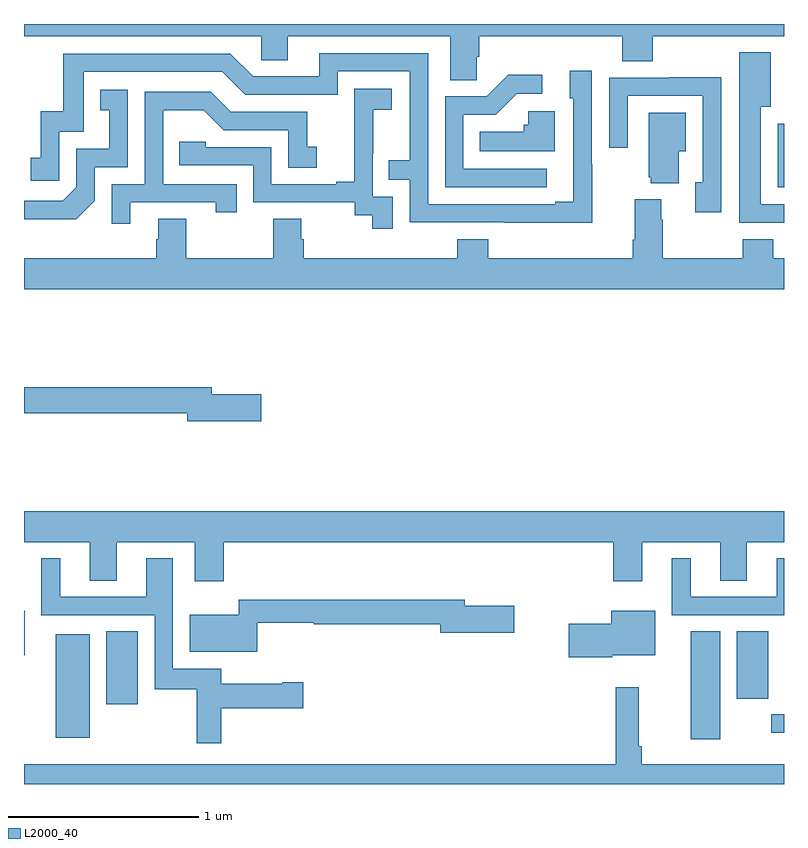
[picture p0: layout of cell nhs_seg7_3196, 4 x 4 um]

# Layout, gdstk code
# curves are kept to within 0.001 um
import gdstk
lib = gdstk.Library(unit=1e-6, precision=1e-09)
def R(c, l, rs):  # rectangles x0, y0, x1, y1
    for r in rs: c.add(gdstk.rectangle(r[:2], r[2:], *l))
def P(c, l, *ps):  # polygons
    for p in ps: c.add(gdstk.Polygon(p, *l))
L2000_40 = (2000, 40)

nhs_seg7_3196 = lib.new_cell('nhs_seg7_3196')
R(nhs_seg7_3196, L2000_40, [(318.509,1010.235,318.664,1010.804), (315.167,1010.243,315.346,1010.788), (318.933,1010.27,319,1010.367), (315.434,1010.42,315.598,1010.804), (318.752,1010.448,318.916,1010.804), (315,1010.678,315.004,1010.911), (318.968,1013.141,319,1013.476)])
P(nhs_seg7_3196, L2000_40, [(317.382,1013.827),(317.396,1013.827),(317.396,1013.936),(318.149,1013.936),(318.149,1013.803),(318.309,1013.803),(318.309,1013.936),(319,1013.936),(319,1014),(315,1014),(315,1013.936),(316.248,1013.936),(316.248,1013.809),(316.387,1013.809),(316.387,1013.936),(317.243,1013.936),(317.243,1013.704),(317.382,1013.704)],
  [(319,1013.052),(318.877,1013.052),(318.877,1013.564),(318.931,1013.564),(318.931,1013.851),(318.764,1013.851),(318.764,1012.955),(319,1012.955)],
  [(317.991,1013.261),(317.988,1013.261),(317.988,1013.755),(317.873,1013.755),(317.873,1013.61),(317.892,1013.61),(317.892,1013.065),(317.795,1013.065),(317.795,1013.052),(317.127,1013.052),(317.127,1013.847),(316.553,1013.847),(316.553,1013.724),(316.206,1013.724),(316.086,1013.844),(315.207,1013.844),(315.207,1013.542),(315.089,1013.542),(315.089,1013.295),(315.036,1013.295),(315.036,1013.175),(315.186,1013.175),(315.186,1013.433),(315.315,1013.433),(315.315,1013.748),(316.044,1013.748),(316.164,1013.628),(316.65,1013.628),(316.65,1013.751),(317.031,1013.751),(317.031,1013.282),(316.921,1013.282),(316.921,1013.181),(317.031,1013.181),(317.031,1012.956),(317.991,1012.955)],
  [(317.752,1013.238),(317.313,1013.238),(317.313,1013.523),(317.482,1013.523),(317.593,1013.634),(317.728,1013.634),(317.728,1013.732),(317.549,1013.732),(317.436,1013.619),(317.217,1013.619),(317.217,1013.142),(317.752,1013.142)],
  [(318.669,1013.72),(318.397,1013.72),(318.397,1013.718),(318.081,1013.718),(318.081,1013.349),(318.177,1013.349),(318.177,1013.622),(318.573,1013.622),(318.573,1013.166),(318.533,1013.166),(318.533,1013.01),(318.669,1013.01)],
  [(316.941,1013.091),(316.836,1013.091),(316.836,1013.321),(316.838,1013.321),(316.838,1013.549),(316.936,1013.549),(316.936,1013.659),(316.738,1013.659),(316.738,1013.453),(316.739,1013.453),(316.739,1013.17),(316.643,1013.17),(316.643,1013.157),(316.302,1013.157),(316.302,1013.352),(315.957,1013.352),(315.957,1013.379),(315.817,1013.379),(315.817,1013.256),(316.206,1013.256),(316.206,1013.061),(316.74,1013.061),(316.74,1012.993),(316.833,1012.993),(316.833,1012.923),(316.941,1012.923)],
  [(315.372,1013.07),(315.372,1013.247),(315.546,1013.247),(315.546,1013.653),(315.4,1013.653),(315.4,1013.547),(315.449,1013.547),(315.449,1013.343),(315.276,1013.343),(315.276,1013.142),(315.204,1013.07),(315,1013.07),(315,1012.973),(315.274,1012.973)],
  [(315.559,1013.061),(316.01,1013.061),(316.01,1013.01),(316.121,1013.01),(316.121,1013.157),(315.732,1013.157),(315.732,1013.546),(315.946,1013.546),(316.05,1013.442),(316.392,1013.442),(316.392,1013.244),(316.54,1013.244),(316.54,1013.353),(316.491,1013.353),(316.491,1013.538),(316.087,1013.538),(315.982,1013.643),(315.636,1013.643),(315.636,1013.157),(315.462,1013.157),(315.462,1012.95),(315.559,1012.95)],
  [(317.794,1013.542),(317.655,1013.542),(317.655,1013.469),(317.629,1013.469),(317.629,1013.434),(317.398,1013.434),(317.398,1013.33),(317.794,1013.33)],
  [(318.445,1013.33),(318.484,1013.33),(318.484,1013.533),(318.287,1013.533),(318.287,1013.193),(318.299,1013.193),(318.299,1013.162),(318.445,1013.162)],
  [(319,1012.768),(318.944,1012.768),(318.944,1012.867),(318.784,1012.867),(318.784,1012.768),(318.363,1012.768),(318.363,1012.97),(318.355,1012.97),(318.355,1013.077),(318.215,1013.077),(318.215,1012.864),(318.203,1012.864),(318.203,1012.768),(317.444,1012.768),(317.444,1012.867),(317.279,1012.867),(317.279,1012.768),(316.472,1012.768),(316.472,1012.866),(316.459,1012.866),(316.459,1012.976),(316.312,1012.976),(316.312,1012.768),(315.855,1012.768),(315.855,1012.976),(315.707,1012.976),(315.707,1012.866),(315.695,1012.866),(315.695,1012.768),(315,1012.768),(315,1012.604),(319,1012.604)],
  [(316.249,1012.052),(315.988,1012.052),(315.988,1012.088),(315,1012.088),(315,1011.952),(315.86,1011.952),(315.86,1011.91),(316.249,1011.91)],
  [(316.052,1011.272),(318.101,1011.272),(318.101,1011.066),(318.253,1011.066),(318.253,1011.272),(318.665,1011.272),(318.665,1011.07),(318.805,1011.07),(318.805,1011.272),(319,1011.272),(319,1011.436),(315,1011.436),(315,1011.272),(315.347,1011.272),(315.347,1011.07),(315.487,1011.07),(315.487,1011.272),(315.899,1011.272),(315.899,1011.066),(316.052,1011.066)],
  [(316.037,1010.398),(316.471,1010.398),(316.471,1010.535),(316.358,1010.535),(316.358,1010.527),(316.037,1010.527),(316.037,1010.607),(315.783,1010.607),(315.783,1011.187),(315.644,1011.187),(315.644,1010.985),(315.19,1010.985),(315.19,1011.187),(315.092,1011.187),(315.092,1010.889),(315.687,1010.889),(315.687,1010.499),(315.909,1010.499),(315.909,1010.214),(316.037,1010.214)],
  [(319,1011.187),(318.962,1011.187),(318.962,1010.985),(318.508,1010.985),(318.508,1011.187),(318.41,1011.187),(318.41,1010.889),(319,1010.889)],
  [(316.227,1010.85),(316.524,1010.85),(316.524,1010.842),(317.192,1010.842),(317.192,1010.795),(317.581,1010.795),(317.581,1010.937),(317.32,1010.937),(317.32,1010.971),(316.131,1010.971),(316.131,1010.89),(315.872,1010.89),(315.872,1010.696),(316.227,1010.696)],
  [(318.096,1010.678),(318.322,1010.678),(318.322,1010.911),(318.092,1010.911),(318.092,1010.844),(317.868,1010.844),(317.868,1010.666),(318.096,1010.666)],
  [(319,1010.104),(318.251,1010.104),(318.251,1010.2),(318.236,1010.2),(318.236,1010.509),(318.115,1010.509),(318.115,1010.104),(315,1010.104),(315,1010),(319,1010)])

lib.write_gds('nhs_seg7_3196.gds')
